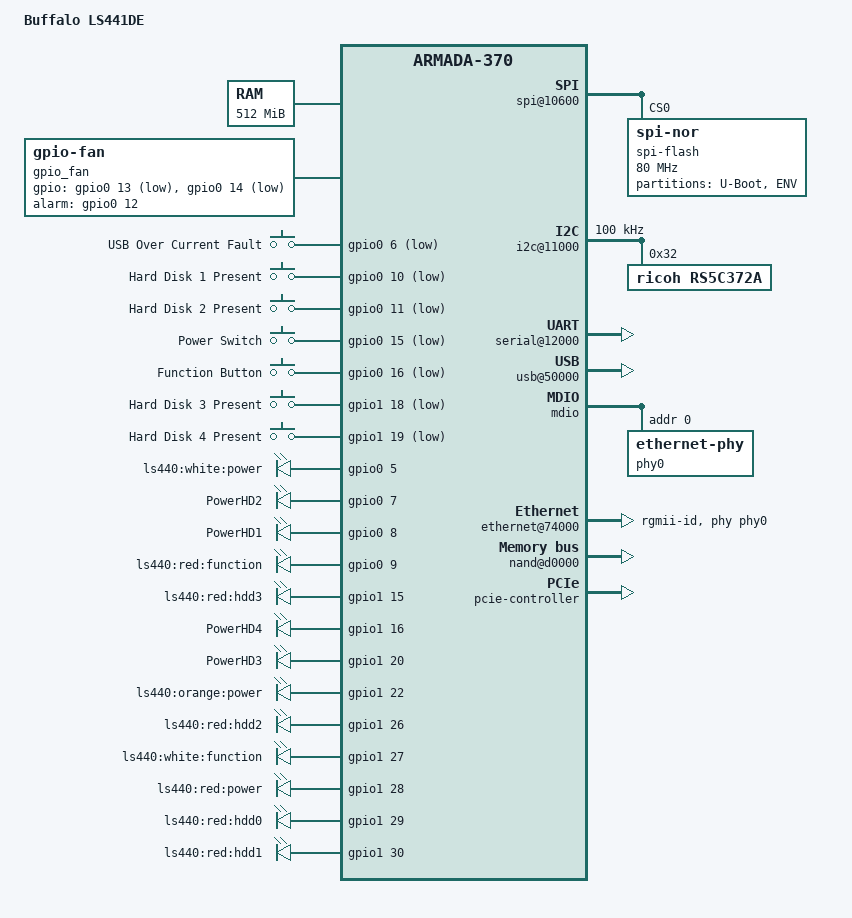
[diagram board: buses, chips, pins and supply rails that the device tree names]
/*
 * Device Tree file for Buffalo LS441DE
 *
 * Copyright (C) 2014, 2016
 * Steve Shih <shihsung@gmail.com>
 *
 * This file is licensed under the terms of the GNU General Public
 * License version 2.  This program is licensed "as is" without any
 * warranty of any kind, whether express or implied.
 */

/dts-v1/;

#include <dt-bindings/input/input.h>
#include <dt-bindings/gpio/gpio.h>
#include "armada-370.dtsi"

/ {
	model = "Buffalo LS441DE";
	compatible = "buffalo,ls400",
		     "marvell,armada370", "marvell,armada-370-xp";

	aliases {
		spi0 = &spi0;
	};

	chosen {
		stdout-path = "serial0:115200n8";
	};

	memory {
		device_type = "memory";
		reg = <0x00000000 0x20000000>; /* 512 MB */
	};

	soc {
		ranges = <MBUS_ID(0xf0, 0x01) 0 0xf1000000 0x100000
			  MBUS_ID(0x01, 0xe0) 0 0xfff00000 0x100000>;
		u-boot,dm-pre-reloc;

		internal-regs {
			spi@10600 {
				status = "okay";
				pinctrl-0 = <&spi0_pins2>;
				pinctrl-names = "default";
				u-boot,dm-pre-reloc;

				spi-flash@0 {
					#address-cells = <1>;
					#size-cells = <1>;
					compatible = "jedec,spi-nor";
					reg = <0>;
					spi-max-frequency = <80000000>;
					mode = <3>;

					partition@0 {
						reg = <0x0 0xf0000>;
						label = "U-Boot";
					};

					partition@f0000 {
						reg = <0xf0000 0x10000>;
						label = "ENV";
					};
				};
			};

			i2c@11000 {
				clock-frequency = <100000>;
				status = "okay";

				rs5c372a: rs5c372a@32 {
					compatible = "ricoh,rs5c372a";
					reg = <0x32>;
				};
			};

			serial@12000 {
				status = "okay";
				u-boot,dm-pre-reloc;
			};

			usb@50000 {
				status = "okay";
			};

			mdio {
				/* Marvell 88E1518 */
				phy0: ethernet-phy@0 {
					reg = <0>;
					marvell,reg-init = <0x3 0x10
							    0xf000 0x081e>,
							   <0x3 0x11
							    0xfff0 0x0001>;
				};
			};

			ethernet@74000 {
				status = "okay";
				phy = <&phy0>;
				phy-mode = "rgmii-id";
			};

			nand@d0000 {
				status = "okay";
				num-cs = <1>;
				marvell,nand-keep-config;
				marvell,nand-enable-arbiter;
				nand-on-flash-bbt;
				nand-ecc-strength = <4>;
				nand-ecc-step-size = <512>;

				partition@0 {
					label = "UBIFS";
					reg = <0x0 0x20000000>;
				};
			};
		};

		pcie-controller {
			status = "okay";

			/* Connected to NEC D720202 USB 3.0 xHCI controller */
			pcie@1,0 {
				/* Port 0, Lane 0 */
				status = "okay";
			};

			/* Connected to Marvell 88SE9215 AHCI controller */
			pcie@2,0 {
				/* Port 1, Lane 0 */
				status = "okay";
			};
		};
	};

	gpio_fan {
		compatible = "gpio-fan";
		pinctrl-0 = <&fan_lock
			     &fan_low
			     &fan_high>;
		pinctrl-names = "default";
		gpios = <&gpio0 13 GPIO_ACTIVE_LOW
			 &gpio0 14 GPIO_ACTIVE_LOW>;
		gpio-fan,speed-map = <   0 3
				      1200 2
				      1800 1
				      2050 0>;
		alarm-gpios = <&gpio0 12 GPIO_ACTIVE_HIGH>;
	};

	gpio-keys {
		compatible = "gpio-keys";
		pinctrl-0 = <&usb_oc_n
			     &hdd_hot0_n
			     &hdd_hot1_n
			     &power_sw_n
			     &func_sw_n
			     &hdd_hot2_n
			     &hdd_hot3_n>;
		pinctrl-names = "default";

		usb-oc {
			label = "USB Over Current Fault";
			linux,code = <KEY_EXIT>;
			gpios = <&gpio0 6 GPIO_ACTIVE_LOW>;
		};

		hdd0-hot {
			label = "Hard Disk 1 Present";
			linux,code = <KEY_PROG1>;
			gpios = <&gpio0 10 GPIO_ACTIVE_LOW>;
		};

		hdd1-hot {
			label = "Hard Disk 2 Present";
			linux,code = <KEY_PROG2>;
			gpios = <&gpio0 11 GPIO_ACTIVE_LOW>;
		};

		power-switch {
			label = "Power Switch";
			linux,code = <KEY_POWER>;
			gpios = <&gpio0 15 GPIO_ACTIVE_LOW>;
			debounce-interval = <3000>;
		};

		func-button {
			label = "Function Button";
			linux,code = <KEY_EJECTCD>;
			gpios = <&gpio0 16 GPIO_ACTIVE_LOW>;
			debounce-interval = <3000>;
		};

		hdd2-hot {
			label = "Hard Disk 3 Present";
			linux,code = <KEY_PROG3>;
			gpios = <&gpio1 18 GPIO_ACTIVE_LOW>;
		};

		hdd3-hot {
			label = "Hard Disk 4 Present";
			linux,code = <KEY_PROG4>;
			gpios = <&gpio1 19 GPIO_ACTIVE_LOW>;
		};
	};

	gpio-leds {
		compatible = "gpio-leds";
		pinctrl-0 = <&power_led
			     &hdd_pwr1
			     &hdd_pwr0
			     &func_red
			     &hdd3_err_led
			     &hdd_pwr3
			     &hdd_pwr2
			     &info_led
			     &hdd2_err_led
			     &func_led
			     &err_led
			     &hdd0_err_led
			     &hdd1_err_led>;
		pinctrl-names = "default";

		power-led {
			label = "ls440:white:power";
			gpios = <&gpio0 5 GPIO_ACTIVE_HIGH>;
			default-state = "on";
		};

		hd1-power {
			label = "PowerHD2";
			gpios = <&gpio0 7 GPIO_ACTIVE_HIGH>;
			default-state = "keep";
		};

		hd0-power {
			label = "PowerHD1";
			gpios = <&gpio0 8 GPIO_ACTIVE_HIGH>;
			default-state = "keep";
		};

		func-red {
			label = "ls440:red:function";
			gpios = <&gpio0 9 GPIO_ACTIVE_HIGH>;
			default-state = "off";
		};

		hdd3-err-led {
			label = "ls440:red:hdd3";
			gpios = <&gpio1 15 GPIO_ACTIVE_HIGH>;
			default-state = "off";
		};

		hd3-power {
			label = "PowerHD4";
			gpios = <&gpio1 16 GPIO_ACTIVE_HIGH>;
			default-state = "keep";
		};

		hd2-power {
			label = "PowerHD3";
			gpios = <&gpio1 20 GPIO_ACTIVE_HIGH>;
			default-state = "keep";
		};

		info-led {
			label = "ls440:orange:power";
			gpios = <&gpio1 22 GPIO_ACTIVE_HIGH>;
			default-state = "off";
		};

		hdd2-err-led {
			label = "ls440:red:hdd2";
			gpios = <&gpio1 26 GPIO_ACTIVE_HIGH>;
			default-state = "off";
		};

		func-led {
			label = "ls440:white:function";
			gpios = <&gpio1 27 GPIO_ACTIVE_HIGH>;
			default-state = "off";
		};

		err-led {
			label = "ls440:red:power";
			gpios = <&gpio1 28 GPIO_ACTIVE_HIGH>;
			default-state = "off";
		};

		hdd0-err-led {
			label = "ls440:red:hdd0";
			gpios = <&gpio1 29 GPIO_ACTIVE_HIGH>;
			default-state = "off";
		};

		hdd1-err-led {
			label = "ls440:red:hdd1";
			gpios = <&gpio1 30 GPIO_ACTIVE_HIGH>;
			default-state = "off";
		};
	};

	restart_poweroff {
		compatible = "restart-poweroff";
	};
};

&pinctrl {
	/* out: default 1 */
	power_led: power-led {
		marvell,pins = "mpp5";
		marvell,function = "gpo";
	};

	/* ??? in */
	usb_oc_n: usb-oc-n {
		marvell,pins = "mpp6";
		marvell,function = "gpio";
	};

	/* out: default 0 */
	hdd_pwr1: hdd-pwr1 {
		marvell,pins = "mpp7";
		marvell,function = "gpo";
	};

	/* out: default 0 */
	hdd_pwr0: hdd-pwr0 {
		marvell,pins = "mpp8";
		marvell,function = "gpio";
	};

	/* out: default 0 */
	func_red: func-red {
		marvell,pins = "mpp9";
		marvell,function = "gpo";
	};

	/* in */
	hdd_hot0_n: hdd-hot0-n {
		marvell,pins = "mpp10";
		marvell,function = "gpio";
	};

	/* in */
	hdd_hot1_n: hdd-hot1-n {
		marvell,pins = "mpp11";
		marvell,function = "gpio";
	};

	/* ??? in */
	fan_lock: fan-lock {
		marvell,pins = "mpp12";
		marvell,function = "gpio";
	};

	/* out: default 0 */
	fan_high: fan-high {
		marvell,pins = "mpp13";
		marvell,function = "gpio";
	};

	/* out: default 0 */
	fan_low: fan-low {
		marvell,pins = "mpp14";
		marvell,function = "gpio";
	};

	/* in */
	power_sw_n: power-sw-n {
		marvell,pins = "mpp15";
		marvell,function = "gpio";
	};

	/* in */
	func_sw_n: func-sw-n {
		marvell,pins = "mpp16";
		marvell,function = "gpio";
	};

	/* ??? in */
	uart_en_n: uart-en-n {
		marvell,pins = "mpp31";
		marvell,function = "gpio";
	};

	/* out: default 0 */
	hdd3_err_led: hdd3-err-led {
		marvell,pins = "mpp47";
		marvell,function = "gpo";
	};

	/* out: default 0 */
	hdd_pwr3: hdd-pwr3 {
		marvell,pins = "mpp49";
		marvell,function = "gpio";
	};

	/* in */
	hdd_hot2_n: hdd-hot2-n {
		marvell,pins = "mpp50";
		marvell,function = "gpio";
	};

	/* in */
	hdd_hot3_n: hdd-hot3-n {
		marvell,pins = "mpp51";
		marvell,function = "gpio";
	};

	/* out: default 0 */
	hdd_pwr2: hdd-pwr2 {
		marvell,pins = "mpp52";
		marvell,function = "gpio";
	};

	/* out: default 0 */
	info_led: info-led {
		marvell,pins = "mpp54";
		marvell,function = "gpo";
	};

	/* out: default 0 */
	hdd2_err_led: hdd2-err-led {
		marvell,pins = "mpp58";
		marvell,function = "gpio";
	};

	/* out: default 0 */
	func_led: func-led {
		marvell,pins = "mpp59";
		marvell,function = "gpo";
	};

	/* out: default 0 */
	err_led: err-led {
		marvell,pins = "mpp60";
		marvell,function = "gpio";
	};

	/* out: default 0 */
	hdd0_err_led: hdd0-err-led {
		marvell,pins = "mpp61";
		marvell,function = "gpo";
	};

	/* out: default 0 */
	hdd1_err_led: hdd1-err-led {
		marvell,pins = "mpp62";
		marvell,function = "gpio";
	};
};
